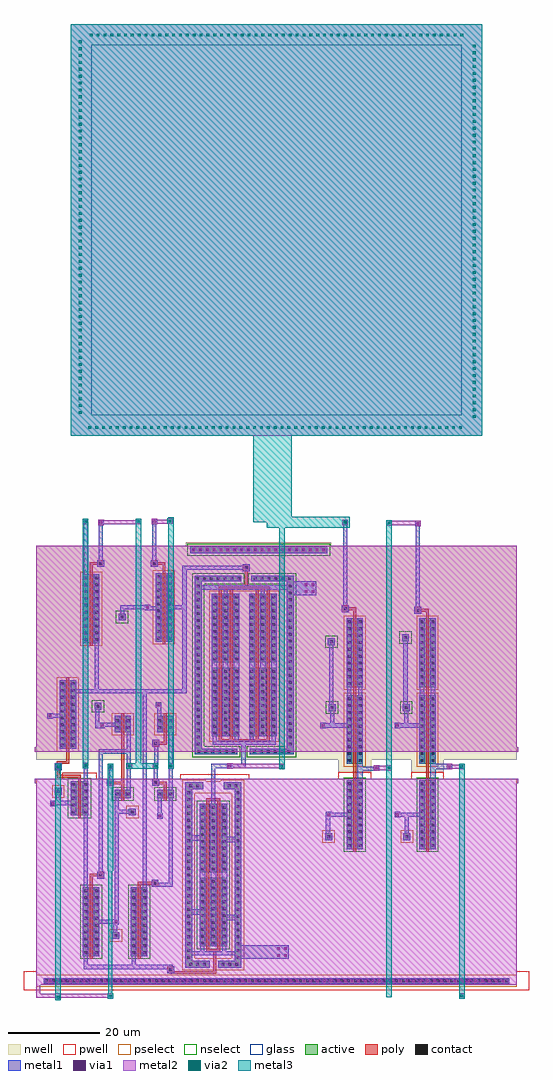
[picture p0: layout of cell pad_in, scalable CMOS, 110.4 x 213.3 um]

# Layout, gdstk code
import gdstk
lib = gdstk.Library(unit=1e-6, precision=1e-09)
def R(c, l, rs):  # rectangles x0, y0, x1, y1
    for r in rs: c.add(gdstk.rectangle(r[:2], r[2:], *l))
def A(c, l, x, y, w, h, nx, ny, dx, dy):  # array of equal rectangles
    R(c, l, [(x+i*dx, y+j*dy, x+i*dx+w, y+j*dy+h) for i in range(nx) for j in range(ny)])
contact = (25, 0)
pwell = (41, 0)
nwell = (42, 0)
active = (43, 0)
pselect = (44, 0)
nselect = (45, 0)
poly = (46, 0)
metal1 = (49, 0)
via1 = (50, 0)
metal2 = (51, 0)
glass = (52, 0)
via2 = (61, 0)
metal3 = (62, 0)

pad_raw = lib.new_cell('pad_raw')
A(pad_raw, contact, -49.95, -105.3, 0.6, 0.6, 68, 1, 1.5, 0)
A(pad_raw, contact, -17.85, -11.1, 0.6, 0.6, 20, 1, 1.5, 0)
R(pad_raw, pwell, [(-54.6,-107.1,-51,-102.9), (-51.9,-107.1,53.1,-102.9), (52.2,-107.1,55.8,-102.9), (-51.15,-106.5,52.35,-103.5)])
R(pad_raw, nwell, [(-51.9,-56.7,53.1,-9.9), (-19.2,-12.45,12.6,-9.15)])
R(pad_raw, active, [(-50.25,-105.6,51.45,-104.4), (-18.3,-11.55,11.7,-10.05)])
R(pad_raw, pselect, [(-51.9,-106.35,53.1,-103.65), (-50.85,-106.2,52.05,-103.8)])
R(pad_raw, nselect, [(-18.9,-12.15,12.3,-9.45)])
R(pad_raw, metal1, [(-50.25,-105.6,51.45,-104.4), (-50.1,-105.6,51.3,-104.4), (-33.9,-105.6,-33,-104.4), (-18.3,-11.55,11.7,-10.05), (-18.3,-11.4,11.7,-10.2), (-3.75,-11.4,-2.85,-10.2)])
A(pad_raw, via1, -49.2, -105.3, 0.6, 0.6, 67, 1, 1.5, 0)
A(pad_raw, via1, -17.85, -11.1, 0.6, 0.6, 20, 1, 1.5, 0)
R(pad_raw, metal2, [(-51.9,-105.9,53.1,-60.9), (-2.1,-105.9,-1.2,-104.4), (-50.1,-105.6,51.3,-104.4), (-0.15,-84.15,0.75,-60.9), (-0.15,-84.15,0.75,-60.9), (-0.15,-84.15,0.75,-60.9), (-52.2,-61.8,0.75,-60.9), (-0.15,-61.8,53.4,-60.9), (-52.2,-54.9,0.75,-54), (-51.9,-54.9,53.1,-9.9), (-0.15,-54.9,0.75,-30.75), (-0.15,-54.9,0.75,-30.75), (-0.15,-54.9,53.4,-54), (-0.15,-31.65,0.75,-9.9), (-18.3,-11.4,11.7,-10.2), (-3.75,-11.4,-2.85,-9.9), (-44.4,14.1,45.6,104.1), (-41.4,15.3,42,16.5), (-0.15,15.45,0.75,16.35), (43.2,17.1,44.4,100.5), (-42.9,18,-41.7,101.4), (-41.1,101.1,42.3,102.3)])
R(pad_raw, glass, [(-39.9,18.6,41.1,99.6)])
A(pad_raw, via2, -40.5, 15.6, 0.6, 0.6, 55, 1, 1.5, 0)
A(pad_raw, via2, 43.5, 18, 0.6, 0.6, 1, 55, 0, 1.5)
A(pad_raw, via2, -42.6, 18.9, 0.6, 0.6, 1, 55, 0, 1.5)
A(pad_raw, via2, -40.2, 101.4, 0.6, 0.6, 55, 1, 1.5, 0)
R(pad_raw, metal3, [(-44.4,14.1,45.6,104.1), (-0.45,14.4,-0.15,61.05), (-41.4,15.3,42,16.5), (-0.15,15.45,44.25,16.35), (-0.15,15.45,0.75,16.35), (43.35,15.45,44.25,59.25), (43.2,17.1,44.4,100.5), (-42.9,18,-41.7,101.4), (43.35,58.35,44.25,102.15), (-42.75,59.25,-41.85,102.15), (-41.1,101.1,42.3,102.3), (-42.75,101.25,1.05,102.15), (0.15,101.25,44.25,102.15)])

pad_io = lib.new_cell('pad_io')
A(pad_io, contact, -18.45, -101.7, 0.6, 0.6, 3, 1, 1.5, 0)
A(pad_io, contact, -11.4, -101.7, 0.6, 0.6, 3, 1, 1.5, 0)
A(pad_io, contact, -18.9, -100.2, 0.6, 0.6, 1, 25, 0, 1.5)
A(pad_io, contact, -8.1, -100.2, 0.6, 0.6, 1, 25, 0, 1.5)
A(pad_io, contact, -41.4, -99.15, 0.6, 0.6, 1, 10, 0, 1.5)
A(pad_io, contact, -39, -99.15, 0.6, 0.6, 1, 10, 0, 1.5)
A(pad_io, contact, -30.9, -99.15, 0.6, 0.6, 1, 10, 0, 1.5)
A(pad_io, contact, -28.5, -99.15, 0.6, 0.6, 1, 10, 0, 1.5)
A(pad_io, contact, -15.9, -97.05, 0.6, 0.6, 3, 10, 2.4, 1.5)
A(pad_io, contact, -15.9, -80.85, 0.6, 0.6, 1, 10, 0, 1.5)
A(pad_io, contact, -11.1, -80.85, 0.6, 0.6, 1, 10, 0, 1.5)
A(pad_io, contact, 16.2, -75.75, 0.6, 0.6, 1, 10, 0, 1.5)
A(pad_io, contact, 18.6, -75.75, 0.6, 0.6, 1, 10, 0, 1.5)
A(pad_io, contact, 32.1, -75.75, 0.6, 0.6, 1, 10, 0, 1.5)
A(pad_io, contact, 34.5, -75.75, 0.6, 0.6, 1, 10, 0, 1.5)
A(pad_io, contact, -44.1, -68.4, 0.6, 0.6, 1, 5, 0, 1.5)
A(pad_io, contact, -41.4, -68.4, 0.6, 0.6, 1, 5, 0, 1.5)
A(pad_io, contact, 16.2, -57.15, 0.6, 0.6, 1, 10, 0, 1.5)
A(pad_io, contact, 18.6, -57.15, 0.6, 0.6, 1, 10, 0, 1.5)
A(pad_io, contact, 32.1, -57.15, 0.6, 0.6, 1, 10, 0, 1.5)
A(pad_io, contact, 34.5, -57.15, 0.6, 0.6, 1, 10, 0, 1.5)
A(pad_io, contact, -16.65, -55.2, 0.6, 0.6, 6, 1, 1.5, 0)
A(pad_io, contact, -4.5, -55.2, 0.6, 0.6, 6, 1, 1.5, 0)
A(pad_io, contact, -46.5, -53.85, 0.6, 0.6, 1, 10, 0, 1.5)
A(pad_io, contact, -44.1, -53.85, 0.6, 0.6, 1, 10, 0, 1.5)
A(pad_io, contact, -16.8, -53.55, 0.6, 0.6, 1, 24, 0, 1.5)
A(pad_io, contact, 3.3, -53.55, 0.6, 0.6, 1, 24, 0, 1.5)
A(pad_io, contact, -13.2, -51.15, 0.6, 0.6, 1, 10, 0, 1.5)
A(pad_io, contact, -8.4, -51.15, 0.6, 0.6, 1, 10, 0, 1.5)
A(pad_io, contact, -5.1, -51.15, 0.6, 0.6, 1, 10, 0, 1.5)
A(pad_io, contact, -0.3, -51.15, 0.6, 0.6, 1, 10, 0, 1.5)
A(pad_io, contact, 16.2, -40.35, 0.6, 0.6, 1, 10, 0, 1.5)
A(pad_io, contact, 18.6, -40.35, 0.6, 0.6, 1, 10, 0, 1.5)
A(pad_io, contact, 32.1, -40.35, 0.6, 0.6, 1, 10, 0, 1.5)
A(pad_io, contact, 34.5, -40.35, 0.6, 0.6, 1, 10, 0, 1.5)
A(pad_io, contact, -13.2, -34.95, 0.6, 0.6, 3, 10, 2.4, 1.5)
A(pad_io, contact, -5.1, -34.95, 0.6, 0.6, 3, 10, 2.4, 1.5)
A(pad_io, contact, -41.4, -30.75, 0.6, 0.6, 1, 10, 0, 1.5)
A(pad_io, contact, -39, -30.75, 0.6, 0.6, 1, 10, 0, 1.5)
A(pad_io, contact, -25.5, -30.45, 0.6, 0.6, 1, 10, 0, 1.5)
A(pad_io, contact, -23.1, -30.45, 0.6, 0.6, 1, 10, 0, 1.5)
A(pad_io, contact, -16.95, -17.4, 0.6, 0.6, 7, 1, 1.5, 0)
A(pad_io, contact, -4.35, -17.4, 0.6, 0.6, 6, 1, 1.5, 0)
R(pad_io, contact, [(-22.8,-102.9,-22.2,-102.3), (-34.8,-95.4,-34.2,-94.8), (-26.25,-84,-25.65,-83.4), (-38.1,-82.2,-37.5,-81.6), (-13.5,-80.85,-12.9,-80.25), (-13.5,-80.85,-12.9,-80.25), (-13.5,-79.35,-12.9,-78.75), (-13.5,-79.35,-12.9,-78.75), (-13.5,-77.85,-12.9,-77.25), (-13.5,-77.85,-12.9,-77.25), (-13.5,-76.35,-12.9,-75.75), (-13.5,-76.35,-12.9,-75.75), (-13.5,-74.85,-12.9,-74.25), (-13.5,-74.85,-12.9,-74.25), (11.7,-73.8,12.3,-73.2), (28.8,-73.8,29.4,-73.2), (-13.5,-73.35,-12.9,-72.75), (-13.5,-73.35,-12.9,-72.75), (-13.5,-71.85,-12.9,-71.25), (-13.5,-71.85,-12.9,-71.25), (-13.5,-70.35,-12.9,-69.75), (-13.5,-70.35,-12.9,-69.75), (-13.5,-68.85,-12.9,-68.25), (-13.5,-68.85,-12.9,-68.25), (-31.2,-68.4,-30.6,-67.8), (-13.5,-67.35,-12.9,-66.75), (-13.5,-67.35,-12.9,-66.75), (-34.5,-64.5,-33.9,-63.9), (-32.1,-64.5,-31.5,-63.9), (-25.2,-64.5,-24.6,-63.9), (-22.8,-64.5,-22.2,-63.9), (-47.4,-63.9,-46.8,-63.3), (-18.45,-62.7,-17.85,-62.1), (-16.95,-62.7,-16.35,-62.1), (-10.05,-62.7,-9.45,-62.1), (-8.55,-62.7,-7.95,-62.1), (-36,-61.95,-35.4,-61.35), (-26.1,-61.95,-25.5,-61.35), (-47.4,-58.5,-46.8,-57.9), (-26.1,-53.4,-25.5,-52.8), (-10.8,-51.15,-10.2,-50.55), (-10.8,-51.15,-10.2,-50.55), (-2.7,-51.15,-2.1,-50.55), (-2.7,-51.15,-2.1,-50.55), (-34.5,-49.95,-33.9,-49.35), (-32.1,-49.95,-31.5,-49.35), (-25.2,-49.95,-24.6,-49.35), (-22.8,-49.95,-22.2,-49.35), (-10.8,-49.65,-10.2,-49.05), (-10.8,-49.65,-10.2,-49.05), (-2.7,-49.65,-2.1,-49.05), (-2.7,-49.65,-2.1,-49.05), (-34.5,-48.45,-33.9,-47.85), (-32.1,-48.45,-31.5,-47.85), (-25.2,-48.45,-24.6,-47.85), (-22.8,-48.45,-22.2,-47.85), (-10.8,-48.15,-10.2,-47.55), (-10.8,-48.15,-10.2,-47.55), (-2.7,-48.15,-2.1,-47.55), (-2.7,-48.15,-2.1,-47.55), (-10.8,-46.65,-10.2,-46.05), (-10.8,-46.65,-10.2,-46.05), (-2.7,-46.65,-2.1,-46.05), (-2.7,-46.65,-2.1,-46.05), (12.45,-45.6,13.05,-45), (28.65,-45.6,29.25,-45), (-38.7,-45.3,-38.1,-44.7), (-10.8,-45.15,-10.2,-44.55), (-10.8,-45.15,-10.2,-44.55), (-2.7,-45.15,-2.1,-44.55), (-2.7,-45.15,-2.1,-44.55), (-10.8,-43.65,-10.2,-43.05), (-10.8,-43.65,-10.2,-43.05), (-2.7,-43.65,-2.1,-43.05), (-2.7,-43.65,-2.1,-43.05), (-10.8,-42.15,-10.2,-41.55), (-10.8,-42.15,-10.2,-41.55), (-2.7,-42.15,-2.1,-41.55), (-2.7,-42.15,-2.1,-41.55), (-10.8,-40.65,-10.2,-40.05), (-10.8,-40.65,-10.2,-40.05), (-2.7,-40.65,-2.1,-40.05), (-2.7,-40.65,-2.1,-40.05), (-10.8,-39.15,-10.2,-38.55), (-10.8,-39.15,-10.2,-38.55), (-2.7,-39.15,-2.1,-38.55), (-2.7,-39.15,-2.1,-38.55), (-10.8,-37.65,-10.2,-37.05), (-10.8,-37.65,-10.2,-37.05), (-2.7,-37.65,-2.1,-37.05), (-2.7,-37.65,-2.1,-37.05), (12.3,-31.2,12.9,-30.6), (28.5,-30.3,29.1,-29.7), (-33.45,-25.8,-32.85,-25.2), (31.2,-24.3,31.8,-23.7), (15.3,-24,15.9,-23.4), (-6.3,-15,-5.7,-14.4), (-38.1,-14.1,-37.5,-13.5), (-26.4,-14.1,-25.8,-13.5)])
A(pad_io, pwell, -18, -99.3, 4.8, 18.6, 3, 2, 2.4, 16.2)
R(pad_io, pwell, [(-51.9,-105.9,53.1,-60.9), (-20.25,-103.05,-13.05,-99.75), (-13.05,-103.05,-6.15,-99.75), (-20.25,-101.85,-16.95,-61.95), (-9.45,-101.85,-6.15,-61.95), (-43.5,-101.4,-38.7,-82.8), (-42.9,-101.4,-36.9,-82.8), (-41.1,-101.4,-36.3,-82.8), (-33,-101.4,-28.2,-82.8), (-32.4,-101.4,-26.4,-82.8), (-30.6,-101.4,-25.8,-82.8), (-17.4,-99.3,-11.4,-80.7), (-15,-99.3,-9,-80.7), (-36.15,-96.75,-32.85,-93.45), (-43.35,-94.35,-38.85,-89.85), (-40.95,-94.35,-36.45,-89.85), (-32.85,-94.35,-28.35,-89.85), (-30.45,-94.35,-25.95,-89.85), (-17.85,-92.55,-13.2,-88.05), (-13.05,-92.55,-8.55,-88.05), (-15.45,-92.25,-10.95,-87.75), (-15.45,-92.25,-10.95,-87.75), (-17.4,-83.1,-11.4,-64.5), (-15.75,-83.1,-10.65,-64.5), (-15,-83.1,-9,-64.5), (14.1,-78,18.9,-59.4), (14.7,-78,20.7,-59.4), (16.5,-78,21.3,-59.4), (30,-78,34.8,-59.4), (30.6,-78,36.6,-59.4), (32.4,-78,37.2,-59.4), (-17.85,-76.05,-13.2,-71.55), (-15.45,-76.05,-10.95,-71.55), (-15.45,-76.05,-10.95,-71.55), (-15.45,-76.05,-10.8,-71.55), (-13.05,-76.05,-8.55,-71.55), (10.35,-75.15,13.65,-71.85), (27.45,-75.15,30.75,-71.85), (14.25,-70.95,18.75,-66.45), (16.65,-70.95,21.15,-66.45), (30.15,-70.95,34.65,-66.45), (32.55,-70.95,37.05,-66.45), (-46.2,-70.65,-41.4,-59.55), (-45.45,-70.65,-39.45,-59.55), (-43.5,-70.65,-38.7,-59.55), (-32.55,-69.75,-29.25,-66.45), (-45.9,-67.35,-41.4,-62.85), (-43.5,-67.35,-38.85,-62.85), (-39.15,-67.2,-19.65,-61.2), (-36.6,-66.9,-31.8,-61.5), (-36,-66.9,-30,-61.5), (-34.2,-66.9,-29.4,-61.5), (-27.3,-66.9,-22.5,-61.5), (-26.7,-66.9,-20.7,-61.5), (-24.9,-66.9,-20.1,-61.5), (-36.45,-66.45,-31.95,-61.95), (-34.05,-66.45,-29.55,-61.95), (-27.15,-66.45,-22.5,-61.95), (-24.9,-66.45,-20.4,-61.95), (-48.75,-65.25,-45.45,-61.95), (-20.4,-64.65,-5.4,-59.85), (-20.25,-64.05,-14.55,-60.75), (-11.85,-64.05,-6.15,-60.75)])
A(pad_io, nwell, -15.3, -53.4, 4.8, 18.6, 3, 2, 2.4, 16.2)
A(pad_io, nwell, -7.2, -53.4, 4.8, 18.6, 3, 2, 2.4, 16.2)
R(pad_io, nwell, [(14.1,-59.4,18.9,-40.8), (14.7,-59.4,20.7,-40.8), (16.5,-59.4,21.3,-40.8), (30,-59.4,34.8,-40.8), (30.6,-59.4,36.6,-40.8), (32.4,-59.4,37.2,-40.8), (-18.15,-56.4,-7.05,-53.4), (-6.15,-56.4,5.25,-53.4), (-48.6,-56.1,-43.8,-37.5), (-48,-56.1,-42,-37.5), (-46.2,-56.1,-41.4,-37.5), (-18.15,-55.35,-14.85,-16.65), (1.95,-55.35,5.25,-16.65), (-14.7,-53.4,-8.7,-34.8), (-13.05,-53.4,-7.95,-34.8), (-12.3,-53.4,-6.3,-34.8), (-6.6,-53.4,-0.6,-34.8), (-4.95,-53.4,0.15,-34.8), (-4.2,-53.4,1.8,-34.8), (-36.6,-52.5,-31.8,-45.3), (-36,-52.5,-30,-45.3), (-34.2,-52.5,-29.4,-45.3), (-27.3,-52.5,-22.5,-45.3), (-26.7,-52.5,-20.7,-45.3), (-24.9,-52.5,-20.1,-45.3), (14.25,-52.35,18.75,-47.85), (16.65,-52.35,21.15,-47.85), (30.15,-52.35,34.65,-47.85), (32.55,-52.35,37.05,-47.85), (-36.45,-51.15,-31.95,-46.65), (-34.05,-51.15,-29.55,-46.65), (-27.15,-51.15,-22.65,-46.65), (-24.75,-51.15,-20.25,-46.65), (-48.45,-49.05,-43.95,-44.55), (-46.05,-49.05,-41.55,-44.55), (11.1,-46.95,14.4,-43.65), (27.3,-46.95,30.6,-43.65), (-40.05,-46.65,-36.75,-43.35), (-15.15,-46.35,-10.65,-41.85), (-12.75,-46.35,-8.25,-41.85), (-12.75,-46.35,-8.25,-41.85), (-10.35,-46.35,-5.7,-41.85), (-7.05,-46.35,-2.55,-41.85), (-4.65,-46.35,-0.15,-41.85), (-4.65,-46.35,-0.15,-41.85), (-2.25,-46.35,2.25,-41.85), (14.1,-42.6,18.9,-24), (14.7,-42.6,20.7,-24), (16.5,-42.6,21.3,-24), (30,-42.6,34.8,-24), (30.6,-42.6,36.6,-24), (32.4,-42.6,37.2,-24), (-14.7,-37.2,-8.7,-18.6), (-12.3,-37.2,-6.3,-18.6), (-6.6,-37.2,-0.6,-18.6), (-4.2,-37.2,1.8,-18.6), (14.25,-35.55,18.75,-31.05), (16.65,-35.55,21.15,-31.05), (30.15,-35.55,34.65,-31.05), (32.55,-35.55,37.05,-31.05), (-43.5,-33,-38.7,-14.4), (-42.9,-33,-36.9,-14.4), (-41.1,-33,-36.3,-14.4), (-27.6,-32.7,-22.8,-14.1), (-27,-32.7,-21,-14.1), (-25.2,-32.7,-20.4,-14.1), (10.95,-32.55,14.25,-29.25), (27.15,-31.65,30.45,-28.35), (-10.35,-31.05,-5.7,-26.55), (-2.25,-30.45,2.4,-25.95), (-15.15,-30.15,-10.65,-25.65), (-12.75,-30.15,-8.25,-25.65), (-12.75,-30.15,-8.1,-25.65), (-7.05,-30.15,-2.55,-25.65), (-4.65,-30.15,-0.15,-25.65), (-4.65,-30.15,-0.15,-25.65), (-34.8,-27.15,-31.5,-23.85), (-43.35,-25.95,-38.85,-21.45), (-40.95,-25.95,-36.45,-21.45), (-27.45,-25.65,-22.95,-21.15), (-25.05,-25.65,-20.55,-21.15), (-18.15,-18.6,-6.15,-15.6), (-5.85,-18.6,5.25,-15.6)])
A(pad_io, active, -16.2, -97.5, 1.2, 15, 3, 2, 2.4, 16.2)
A(pad_io, active, -13.5, -51.6, 1.2, 15, 3, 2, 2.4, 16.2)
A(pad_io, active, -5.4, -51.6, 1.2, 15, 3, 2, 2.4, 16.2)
R(pad_io, active, [(-19.35,-102.15,-13.95,-100.65), (-12.15,-102.15,-7.05,-100.65), (-19.35,-100.95,-17.85,-62.85), (-8.55,-100.95,-7.05,-62.85), (-41.7,-99.6,-40.5,-84.6), (-41.1,-99.6,-38.7,-84.6), (-39.3,-99.6,-38.1,-84.6), (-31.2,-99.6,-30,-84.6), (-30.6,-99.6,-28.2,-84.6), (-28.8,-99.6,-27.6,-84.6), (-15.6,-97.5,-13.2,-82.5), (-13.2,-97.5,-10.8,-82.5), (-35.25,-95.85,-33.75,-94.35), (-41.55,-92.55,-40.65,-91.65), (-39.15,-92.55,-38.25,-91.65), (-31.05,-92.55,-30.15,-91.65), (-28.65,-92.55,-27.75,-91.65), (-16.05,-90.75,-15,-89.85), (-11.25,-90.75,-10.35,-89.85), (-13.65,-90.45,-12.75,-89.55), (-13.65,-90.45,-12.75,-89.55), (-15.6,-81.3,-13.2,-66.3), (-13.95,-81.3,-12.45,-66.3), (-13.2,-81.3,-10.8,-66.3), (15.9,-76.2,17.1,-61.2), (16.5,-76.2,18.9,-61.2), (18.3,-76.2,19.5,-61.2), (31.8,-76.2,33,-61.2), (32.4,-76.2,34.8,-61.2), (34.2,-76.2,35.4,-61.2), (-16.05,-74.25,-15,-73.35), (-13.65,-74.25,-12.75,-73.35), (-13.65,-74.25,-12.75,-73.35), (-13.65,-74.25,-12.6,-73.35), (-11.25,-74.25,-10.35,-73.35), (11.25,-74.25,12.75,-72.75), (28.35,-74.25,29.85,-72.75), (16.05,-69.15,16.95,-68.25), (18.45,-69.15,19.35,-68.25), (31.95,-69.15,32.85,-68.25), (34.35,-69.15,35.25,-68.25), (-44.4,-68.85,-43.2,-61.35), (-43.65,-68.85,-41.25,-61.35), (-41.7,-68.85,-40.5,-61.35), (-31.65,-68.85,-30.15,-67.35), (-44.1,-65.55,-43.2,-64.65), (-41.7,-65.55,-40.65,-64.65), (-34.8,-65.1,-33.6,-63.3), (-34.2,-65.1,-31.8,-63.3), (-32.4,-65.1,-31.2,-63.3), (-25.5,-65.1,-24.3,-63.3), (-24.9,-65.1,-22.5,-63.3), (-23.1,-65.1,-21.9,-63.3), (-34.65,-64.65,-33.75,-63.75), (-32.25,-64.65,-31.35,-63.75), (-25.35,-64.65,-24.3,-63.75), (-23.1,-64.65,-22.2,-63.75), (-47.85,-64.35,-46.35,-62.85), (-19.35,-63.15,-15.45,-61.65), (-10.95,-63.15,-7.05,-61.65), (15.9,-57.6,17.1,-42.6), (16.5,-57.6,18.9,-42.6), (18.3,-57.6,19.5,-42.6), (31.8,-57.6,33,-42.6), (32.4,-57.6,34.8,-42.6), (34.2,-57.6,35.4,-42.6), (-17.25,-55.5,-7.95,-54.3), (-5.25,-55.5,4.35,-54.3), (-17.25,-54.45,-15.75,-17.55), (2.85,-54.45,4.35,-17.55), (-46.8,-54.3,-45.6,-39.3), (-46.2,-54.3,-43.8,-39.3), (-44.4,-54.3,-43.2,-39.3), (-12.9,-51.6,-10.5,-36.6), (-11.25,-51.6,-9.75,-36.6), (-10.5,-51.6,-8.1,-36.6), (-4.8,-51.6,-2.4,-36.6), (-3.15,-51.6,-1.65,-36.6), (-2.4,-51.6,0,-36.6), (-34.8,-50.7,-33.6,-47.1), (-34.2,-50.7,-31.8,-47.1), (-32.4,-50.7,-31.2,-47.1), (-25.5,-50.7,-24.3,-47.1), (-24.9,-50.7,-22.5,-47.1), (-23.1,-50.7,-21.9,-47.1), (16.05,-50.55,16.95,-49.65), (18.45,-50.55,19.35,-49.65), (31.95,-50.55,32.85,-49.65), (34.35,-50.55,35.25,-49.65), (-34.65,-49.35,-33.75,-48.45), (-32.25,-49.35,-31.35,-48.45), (-25.35,-49.35,-24.45,-48.45), (-22.95,-49.35,-22.05,-48.45), (-46.65,-47.25,-45.75,-46.35), (-44.25,-47.25,-43.35,-46.35), (12,-46.05,13.5,-44.55), (28.2,-46.05,29.7,-44.55), (-39.15,-45.75,-37.65,-44.25), (-13.35,-44.55,-12.45,-43.65), (-10.95,-44.55,-10.05,-43.65), (-10.95,-44.55,-10.05,-43.65), (-8.55,-44.55,-7.5,-43.65), (-5.25,-44.55,-4.35,-43.65), (-2.85,-44.55,-1.95,-43.65), (-2.85,-44.55,-1.95,-43.65), (-0.45,-44.55,0.45,-43.65), (15.9,-40.8,17.1,-25.8), (16.5,-40.8,18.9,-25.8), (18.3,-40.8,19.5,-25.8), (31.8,-40.8,33,-25.8), (32.4,-40.8,34.8,-25.8), (34.2,-40.8,35.4,-25.8), (-12.9,-35.4,-10.5,-20.4), (-10.5,-35.4,-8.1,-20.4), (-4.8,-35.4,-2.4,-20.4), (-2.4,-35.4,0,-20.4), (16.05,-33.75,16.95,-32.85), (18.45,-33.75,19.35,-32.85), (31.95,-33.75,32.85,-32.85), (34.35,-33.75,35.25,-32.85), (11.85,-31.65,13.35,-30.15), (-41.7,-31.2,-40.5,-16.2), (-41.1,-31.2,-38.7,-16.2), (-39.3,-31.2,-38.1,-16.2), (-25.8,-30.9,-24.6,-15.9), (-25.2,-30.9,-22.8,-15.9), (-23.4,-30.9,-22.2,-15.9), (28.05,-30.75,29.55,-29.25), (-8.55,-29.25,-7.5,-28.35), (-0.45,-28.65,0.6,-27.75), (-13.35,-28.35,-12.45,-27.45), (-10.95,-28.35,-10.05,-27.45), (-10.95,-28.35,-9.9,-27.45), (-5.25,-28.35,-4.35,-27.45), (-2.85,-28.35,-1.95,-27.45), (-2.85,-28.35,-1.95,-27.45), (-33.9,-26.25,-32.4,-24.75), (-41.55,-24.15,-40.65,-23.25), (-39.15,-24.15,-38.25,-23.25), (-25.65,-23.85,-24.75,-22.95), (-23.25,-23.85,-22.35,-22.95), (-17.25,-17.7,-7.05,-16.5), (-4.95,-17.7,4.35,-16.5)])
A(pad_io, pselect, -14.1, -52.2, 2.4, 16.2, 3, 2, 2.4, 16.2)
A(pad_io, pselect, -6, -52.2, 2.4, 16.2, 3, 2, 2.4, 16.2)
R(pad_io, pselect, [(-19.95,-102.75,-6.45,-100.05), (-19.95,-102.75,-13.35,-100.05), (-12.75,-102.75,-6.45,-100.05), (-19.95,-101.55,-17.25,-62.25), (-9.15,-101.55,-6.45,-62.25), (-35.85,-96.45,-33.15,-93.75), (10.65,-74.85,13.35,-72.15), (27.75,-74.85,30.45,-72.15), (-32.25,-69.45,-29.55,-66.75), (-48.45,-64.95,-45.75,-62.25), (-19.95,-64.05,-6.45,-61.35), (-19.95,-63.75,-14.85,-61.05), (-11.55,-63.75,-6.45,-61.05), (15.3,-58.2,17.7,-42), (15.9,-58.2,19.5,-42), (17.7,-58.2,20.1,-42), (31.2,-58.2,33.6,-42), (31.8,-58.2,35.4,-42), (33.6,-58.2,36,-42), (-47.4,-54.9,-45,-38.7), (-46.8,-54.9,-43.2,-38.7), (-45,-54.9,-42.6,-38.7), (-14.1,-52.8,1.2,-19.8), (-13.5,-52.2,-9.9,-36), (-11.85,-52.2,-9.15,-36), (-11.1,-52.2,-7.5,-36), (-5.4,-52.2,-1.8,-36), (-3.75,-52.2,-1.05,-36), (-3,-52.2,0.6,-36), (-35.4,-51.3,-33,-46.5), (-34.8,-51.3,-31.2,-46.5), (-33,-51.3,-30.6,-46.5), (-26.1,-51.3,-23.7,-46.5), (-25.5,-51.3,-21.9,-46.5), (-23.7,-51.3,-21.3,-46.5), (15.45,-51.15,17.55,-49.05), (17.85,-51.15,19.95,-49.05), (31.35,-51.15,33.45,-49.05), (33.75,-51.15,35.85,-49.05), (-35.25,-49.95,-33.15,-47.85), (-32.85,-49.95,-30.75,-47.85), (-25.95,-49.95,-23.85,-47.85), (-23.55,-49.95,-21.45,-47.85), (-47.25,-47.85,-45.15,-45.75), (-44.85,-47.85,-42.75,-45.75), (-13.95,-45.15,-11.85,-43.05), (-11.55,-45.15,-9.45,-43.05), (-11.55,-45.15,-9.45,-43.05), (-9.15,-45.15,-6.9,-43.05), (-5.85,-45.15,-3.75,-43.05), (-3.45,-45.15,-1.35,-43.05), (-3.45,-45.15,-1.35,-43.05), (-1.05,-45.15,1.05,-43.05), (15.3,-41.4,17.7,-25.2), (15.9,-41.4,19.5,-25.2), (17.7,-41.4,20.1,-25.2), (31.2,-41.4,33.6,-25.2), (31.8,-41.4,35.4,-25.2), (33.6,-41.4,36,-25.2), (-13.5,-36,-9.9,-19.8), (-11.1,-36,-7.5,-19.8), (-5.4,-36,-1.8,-19.8), (-3,-36,0.6,-19.8), (15.45,-34.35,17.55,-32.25), (17.85,-34.35,19.95,-32.25), (31.35,-34.35,33.45,-32.25), (33.75,-34.35,35.85,-32.25), (-42.3,-31.8,-39.9,-15.6), (-41.7,-31.8,-38.1,-15.6), (-39.9,-31.8,-37.5,-15.6), (-26.4,-31.5,-24,-15.3), (-25.8,-31.5,-22.2,-15.3), (-24,-31.5,-21.6,-15.3), (-9.15,-29.85,-6.9,-27.75), (-1.05,-29.25,1.2,-27.15), (-13.95,-28.95,-11.85,-26.85), (-11.55,-28.95,-9.45,-26.85), (-11.55,-28.95,-9.3,-26.85), (-5.85,-28.95,-3.75,-26.85), (-3.45,-28.95,-1.35,-26.85), (-3.45,-28.95,-1.35,-26.85), (-42.15,-24.75,-40.05,-22.65), (-39.75,-24.75,-37.65,-22.65), (-26.25,-24.45,-24.15,-22.35), (-23.85,-24.45,-21.75,-22.35)])
A(pad_io, nselect, -16.8, -98.1, 2.4, 16.2, 3, 2, 2.4, 16.2)
R(pad_io, nselect, [(-42.3,-100.2,-39.9,-84), (-41.7,-100.2,-38.1,-84), (-39.9,-100.2,-37.5,-84), (-31.8,-100.2,-29.4,-84), (-31.2,-100.2,-27.6,-84), (-29.4,-100.2,-27,-84), (-16.8,-98.1,-9.6,-65.7), (-16.2,-98.1,-12.6,-81.9), (-13.8,-98.1,-10.2,-81.9), (-42.15,-93.15,-40.05,-91.05), (-39.75,-93.15,-37.65,-91.05), (-31.65,-93.15,-29.55,-91.05), (-29.25,-93.15,-27.15,-91.05), (-16.65,-91.35,-14.4,-89.25), (-11.85,-91.35,-9.75,-89.25), (-14.25,-91.05,-12.15,-88.95), (-14.25,-91.05,-12.15,-88.95), (-16.2,-81.9,-12.6,-65.7), (-14.55,-81.9,-11.85,-65.7), (-13.8,-81.9,-10.2,-65.7), (15.3,-76.8,17.7,-60.6), (15.9,-76.8,19.5,-60.6), (17.7,-76.8,20.1,-60.6), (31.2,-76.8,33.6,-60.6), (31.8,-76.8,35.4,-60.6), (33.6,-76.8,36,-60.6), (-16.65,-74.85,-14.4,-72.75), (-14.25,-74.85,-12.15,-72.75), (-14.25,-74.85,-12.15,-72.75), (-14.25,-74.85,-12,-72.75), (-11.85,-74.85,-9.75,-72.75), (15.45,-69.75,17.55,-67.65), (17.85,-69.75,19.95,-67.65), (31.35,-69.75,33.45,-67.65), (33.75,-69.75,35.85,-67.65), (-45,-69.45,-42.6,-60.75), (-44.25,-69.45,-40.65,-60.75), (-42.3,-69.45,-39.9,-60.75), (-44.7,-66.15,-42.6,-64.05), (-42.3,-66.15,-40.05,-64.05), (-35.4,-65.7,-33,-62.7), (-34.8,-65.7,-31.2,-62.7), (-33,-65.7,-30.6,-62.7), (-26.1,-65.7,-23.7,-62.7), (-25.5,-65.7,-21.9,-62.7), (-23.7,-65.7,-21.3,-62.7), (-35.25,-65.25,-33.15,-63.15), (-32.85,-65.25,-30.75,-63.15), (-25.95,-65.25,-23.7,-63.15), (-23.7,-65.25,-21.6,-63.15), (-17.85,-56.1,-7.35,-53.7), (-5.85,-56.1,4.95,-53.7), (-17.85,-55.05,-15.15,-16.95), (2.25,-55.05,4.95,-16.95), (11.4,-46.65,14.1,-43.95), (27.6,-46.65,30.3,-43.95), (-39.75,-46.35,-37.05,-43.65), (11.25,-32.25,13.95,-29.55), (27.45,-31.35,30.15,-28.65), (-34.5,-26.85,-31.8,-24.15), (-17.85,-18.3,-6.45,-15.9), (-5.55,-18.3,4.95,-15.9)])
R(pad_io, poly, [(-22.8,-103.5,-22.2,-102.45), (-22.8,-103.5,-12.6,-102.9), (-13.2,-103.5,-12.6,-98.1), (-23.25,-103.35,-21.75,-101.85), (-40.2,-100.2,-39.6,-84), (-29.7,-100.2,-29.1,-84), (-14.7,-98.7,-14.1,-97.8), (-14.7,-98.7,-12.6,-98.1), (-13.2,-98.7,-11.7,-98.1), (-12.3,-98.7,-11.7,-97.8), (-14.7,-98.1,-14.1,-81.9), (-12.3,-98.1,-11.7,-81.9), (-26.7,-84.45,-25.2,-82.95), (-40.2,-84.3,-39.6,-81.6), (-29.7,-84.3,-29.1,-83.4), (-29.7,-84,-25.5,-83.4), (-38.55,-82.65,-37.05,-81.15), (-40.2,-82.2,-37.5,-81.6), (-14.7,-82.2,-14.1,-81.6), (-12.3,-82.2,-11.7,-81.6), (-14.7,-81.9,-14.1,-65.7), (-12.3,-81.9,-11.7,-65.7), (17.4,-76.8,18,-60.6), (33.3,-76.8,33.9,-60.6), (-42.75,-69.45,-42.15,-60.75), (-14.7,-66,-14.1,-65.1), (-12.3,-66,-11.7,-65.1), (-33.3,-65.7,-32.7,-62.7), (-24,-65.7,-23.4,-62.7), (-14.7,-65.7,-11.7,-65.1), (-33.3,-63,-32.7,-61.5), (-24,-63,-23.4,-61.5), (-36.45,-62.4,-34.95,-60.9), (-26.55,-62.4,-25.05,-60.9), (-36,-62.1,-32.7,-61.5), (-33.3,-62.1,-32.7,-51), (-26.1,-62.1,-23.4,-61.5), (-42.75,-61.05,-42.15,-60), (17.4,-60.9,18,-57.9), (33.3,-60.9,33.9,-57.9), (-47.4,-60.6,-42.15,-60), (-47.4,-60.6,-46.8,-57), (-47.85,-58.95,-46.35,-57.45), (-47.4,-58.65,-46.8,-58.05), (-47.4,-58.5,-46.8,-57), (17.4,-58.2,18,-42), (33.3,-58.2,33.9,-42), (-47.4,-57.6,-44.7,-57), (-45.3,-57.6,-44.7,-54.6), (-45.3,-54.9,-44.7,-38.7), (-26.55,-53.85,-25.05,-52.35), (-26.1,-53.4,-23.4,-52.8), (-24,-53.4,-23.4,-51), (-12,-52.8,-11.4,-51.9), (-12,-52.8,-9,-52.2), (-9.6,-52.8,-9,-51.9), (-9.6,-52.8,-3.3,-52.2), (-3.9,-52.8,-3.3,-51.9), (-3.9,-52.8,-0.9,-52.2), (-12,-52.2,-11.4,-36), (-9.6,-52.2,-9,-36), (-3.9,-52.2,-3.3,-36), (-1.5,-52.2,-0.9,-36), (-33.3,-51.3,-32.7,-46.5), (-24,-51.3,-23.4,-46.5), (17.4,-42.3,18,-41.1), (33.3,-42.3,33.9,-41.1), (17.4,-41.4,18,-25.2), (33.3,-41.4,33.9,-25.2), (-12,-36.3,-11.4,-35.7), (-9.6,-36.3,-9,-35.7), (-3.9,-36.3,-3.3,-35.7), (-1.5,-36.3,-0.9,-35.7), (-12,-36,-11.4,-19.8), (-9.6,-36,-9,-19.8), (-3.9,-36,-3.3,-19.8), (-1.5,-36,-0.9,-19.8), (-40.2,-31.8,-39.6,-15.6), (-24.3,-31.5,-23.7,-15.3), (17.4,-25.5,18,-23.4), (33.3,-25.5,33.9,-23.7), (30.75,-24.75,32.25,-23.25), (14.85,-24.45,16.35,-22.95), (31.35,-24.3,33.9,-23.7), (15.45,-24,18,-23.4), (-12,-20.1,-11.4,-18.9), (-9.6,-20.1,-9,-18.9), (-3.9,-20.1,-3.3,-18.9), (-1.5,-20.1,-0.9,-18.9), (-12,-19.5,-9,-18.9), (-9.6,-19.5,-5.7,-18.9), (-6.3,-19.5,-3.3,-18.9), (-6.3,-19.5,-5.7,-14.4), (-3.9,-19.5,-0.9,-18.9), (-40.2,-15.9,-39.6,-13.5), (-24.3,-15.6,-23.7,-13.5), (-6.75,-15.45,-5.25,-13.95), (-38.55,-14.55,-37.05,-13.05), (-26.85,-14.55,-25.35,-13.05), (-40.2,-14.1,-37.65,-13.5), (-26.25,-14.1,-23.7,-13.5)])
A(pad_io, metal1, -16.2, -97.5, 1.2, 15, 3, 2, 2.4, 16.2)
A(pad_io, metal1, -13.5, -51.6, 1.2, 15, 3, 2, 2.4, 16.2)
A(pad_io, metal1, -5.4, -51.6, 1.2, 15, 3, 2, 2.4, 16.2)
R(pad_io, metal1, [(-23.25,-103.35,-21.75,-101.85), (-22.95,-102.9,-22.05,-101.55), (-41.55,-102.45,-40.65,-98.55), (-41.55,-102.45,-30.15,-101.55), (-31.05,-102.45,-22.05,-101.55), (-31.05,-102.45,-30.15,-91.65), (-19.35,-102.15,-13.95,-100.65), (-12.15,-102.15,-7.05,-100.65), (-19.2,-101.85,-18,-99.15), (-8.4,-101.85,-7.2,-99.15), (-19.35,-100.95,-17.85,-62.85), (-8.55,-100.95,-7.05,-62.85), (-7.8,-100.2,1.8,-97.2), (0.3,-100.2,3.3,-97.2), (-41.7,-99.6,-40.5,-84.6), (-39.3,-99.6,-38.1,-84.6), (-31.2,-99.6,-30,-84.6), (-28.8,-99.6,-27.6,-84.6), (-18.9,-99.45,-15.15,-98.55), (-16.05,-99.45,-10.35,-98.55), (-16.05,-99.45,-15.15,-90.75), (-11.25,-99.45,-10.35,-96.15), (-11.25,-99.45,-7.5,-98.55), (-35.25,-95.85,-33.75,-94.35), (-35.1,-95.4,-34.2,-91.8), (-35.1,-92.7,-33.9,-91.5), (-39,-92.55,-34.2,-91.65), (-28.65,-92.55,-27.75,-41.25), (-34.8,-92.4,-33.9,-67.65), (-11.25,-91.8,-7.2,-90.6), (-19.2,-90.6,-15.15,-89.4), (-41.55,-85.65,-40.65,-67.8), (-16.2,-84.9,-15,-80.1), (-11.4,-84.9,-10.2,-80.1), (-26.7,-84.45,-25.2,-82.95), (-26.4,-84.45,-22.05,-83.55), (-22.95,-84.45,-22.05,-63.75), (-13.8,-83.55,-12.6,-80.25), (-38.55,-82.65,-37.05,-81.15), (-38.25,-82.35,-37.35,-54.45), (-13.95,-81.3,-12.45,-66.3), (15.9,-76.2,17.1,-61.2), (18.3,-76.2,19.5,-61.2), (31.8,-76.2,33,-61.2), (34.2,-76.2,35.4,-61.2), (-11.25,-74.7,-7.2,-73.5), (-19.2,-74.4,-15.15,-73.2), (-13.65,-74.25,-12.75,-64.35), (11.25,-74.25,12.75,-72.75), (28.35,-74.25,29.85,-72.75), (11.4,-73.8,12.3,-68.4), (28.65,-73.8,29.55,-68.25), (-25.5,-69.6,-24.3,-68.4), (-25.35,-69.3,-24.45,-64.05), (11.4,-69.3,12.6,-68.1), (26.4,-69.3,27.6,-68.1), (11.7,-69.15,16.8,-68.25), (26.7,-69.15,29.55,-68.25), (28.65,-69.15,32.7,-68.25), (-44.4,-68.85,-43.2,-61.35), (-41.7,-68.85,-40.5,-61.35), (-31.65,-68.85,-30.15,-67.35), (-34.8,-68.55,-30.6,-67.65), (-34.8,-68.55,-33.9,-64.05), (-48.9,-66.9,-47.7,-65.7), (-48.6,-66.6,-46.65,-65.7), (-47.55,-66.6,-46.65,-63.3), (-47.55,-66.6,-43.5,-65.7), (-13.65,-65.25,-12.75,-63.9), (-13.65,-65.25,-12.75,-57.6), (-34.8,-65.1,-33.6,-63.3), (-32.4,-65.1,-31.2,-63.3), (-25.5,-65.1,-24.3,-63.3), (-23.1,-65.1,-21.9,-63.3), (-19.2,-64.65,-18,-61.8), (-8.4,-64.65,-7.2,-61.8), (-47.85,-64.35,-46.35,-62.85), (-32.1,-64.35,-31.2,-57.75), (-22.95,-64.35,-22.05,-57.45), (-19.35,-63.15,-15.45,-61.65), (-10.95,-63.15,-7.05,-61.65), (-41.55,-62.4,-40.65,-57.45), (-36.45,-62.4,-34.95,-60.9), (-26.55,-62.4,-25.05,-60.9), (18.3,-62.4,19.5,-58.05), (34.2,-62.4,35.4,-57.6), (-36,-62.1,-35.1,-57.9), (-26.25,-62.1,-25.35,-57.75), (-22.95,-59.55,-22.05,-49.65), (-22.95,-59.55,-22.05,-58.65), (-22.95,-59.55,-22.05,-57.45), (18.3,-59.25,19.5,-56.4), (18.45,-59.1,22.8,-58.2), (21.9,-59.1,23.1,-57.9), (-47.85,-58.95,-46.35,-57.45), (-47.7,-58.8,-46.5,-57.6), (-36.3,-58.8,-35.1,-57.6), (34.2,-58.8,35.4,-56.4), (34.2,-58.8,38.85,-57.6), (37.8,-58.8,39,-57.6), (-32.1,-58.65,-30.9,-57.45), (-32.1,-58.65,-31.2,-54.45), (-32.1,-58.65,-31.2,-57.75), (-26.4,-58.65,-25.2,-57.45), (-26.1,-58.65,-25.2,-52.8), (-23.1,-58.65,-21.9,-57.45), (-10.2,-58.65,-9,-57.45), (-47.7,-58.5,-46.5,-57.6), (-41.7,-58.5,-40.5,-57.3), (-13.65,-58.5,-6.15,-57.6), (-10.2,-58.5,-6.15,-57.6), (-7.05,-58.5,-6.15,-52.5), (-23.1,-58.35,-22.05,-57.45), (15.9,-57.6,17.1,-42.6), (18.3,-57.6,19.5,-42.6), (31.8,-57.6,33,-42.6), (34.2,-57.6,35.4,-42.6), (-17.25,-55.5,-7.95,-54.3), (-5.25,-55.5,4.35,-54.3), (3.15,-55.5,4.35,-53.4), (-38.25,-55.35,-31.2,-54.45), (-32.1,-55.35,-31.2,-49.65), (-16.8,-55.2,-15.9,-53.4), (-17.25,-54.45,-15.75,-17.55), (2.85,-54.45,4.35,-17.55), (-46.8,-54.3,-45.6,-39.3), (-44.4,-54.3,-43.2,-39.3), (-26.55,-53.85,-25.05,-52.35), (-13.35,-53.4,-7.65,-52.5), (-13.35,-53.4,-12.45,-50.55), (-8.55,-53.4,-7.65,-50.55), (-8.55,-53.4,-6.15,-52.5), (-7.05,-53.4,-4.35,-52.5), (-5.25,-53.4,0.45,-52.5), (-5.25,-53.4,-4.35,-50.55), (-0.45,-53.4,0.45,-50.55), (-11.25,-51.6,-9.75,-36.6), (-3.15,-51.6,-1.65,-36.6), (-34.8,-50.7,-33.6,-47.1), (-32.4,-50.7,-31.2,-47.1), (-25.5,-50.7,-24.3,-47.1), (-23.1,-50.7,-21.9,-47.1), (-39,-49.8,-37.2,-48.9), (-39,-49.8,-38.1,-44.7), (-38.1,-49.8,-36.9,-48.6), (10.2,-49.8,11.4,-48.6), (26.4,-49.8,27.6,-48.6), (10.5,-49.65,13.2,-48.75), (12.3,-49.65,13.2,-45), (12.3,-49.65,16.8,-48.75), (26.7,-49.65,29.4,-48.75), (28.5,-49.65,32.7,-48.75), (28.5,-49.65,29.4,-45), (-37.8,-49.5,-33.9,-48.6), (-25.5,-48.15,-24.6,-44.4), (-49.5,-47.7,-48.3,-46.5), (-49.2,-47.55,-45.9,-46.65), (12,-46.05,13.5,-44.55), (28.2,-46.05,29.7,-44.55), (-39.15,-45.75,-37.65,-44.25), (12.15,-45.6,13.05,-30.6), (28.35,-45.6,29.25,-29.7), (-25.8,-45.3,-24.6,-44.1), (16.05,-43.65,16.95,-39.75), (18.45,-43.65,19.35,-39.75), (31.95,-43.65,32.85,-39.75), (34.35,-43.65,35.25,-39.75), (-44.1,-42.15,-38.25,-41.25), (-39.15,-42.15,-27.75,-41.25), (-39.15,-42.15,-38.25,-30.15), (-28.65,-42.15,-19.05,-41.25), (-19.95,-42.15,-19.05,-22.95), (-13.5,-41.7,-12.3,-34.2), (-8.7,-41.7,-7.5,-34.2), (-10.95,-41.55,-10.05,-37.65), (-10.95,-41.55,-10.05,-37.65), (-5.4,-41.4,-4.2,-34.2), (-0.6,-41.4,0.6,-34.2), (-2.85,-41.25,-1.95,-37.65), (-2.85,-41.25,-1.95,-37.65), (15.9,-40.8,17.1,-25.8), (18.3,-40.8,19.5,-25.8), (31.8,-40.8,33,-25.8), (34.2,-40.8,35.4,-25.8), (-11.1,-38.7,-9.9,-34.2), (-3,-38.7,-1.8,-34.2), (11.85,-31.65,13.35,-30.15), (-41.7,-31.2,-40.5,-16.2), (-39.3,-31.2,-38.1,-16.2), (-25.8,-30.9,-24.6,-15.9), (-23.4,-30.9,-22.2,-15.9), (28.05,-30.75,29.55,-29.25), (-10.95,-28.35,-10.05,-18.6), (-33.9,-26.25,-32.4,-24.75), (-33.6,-25.65,-32.7,-22.95), (30.75,-24.75,32.25,-23.25), (14.85,-24.45,16.35,-22.95), (31.05,-24.3,31.95,-4.8), (-28.2,-24,-27,-22.8), (-27.9,-24,-24.9,-23.1), (15.15,-24,16.05,-4.2), (-33.6,-23.85,-27.15,-22.95), (-23.1,-23.85,-19.05,-22.95), (-19.95,-23.85,-19.05,-14.25), (-2.85,-21.45,-1.95,-18.6), (3.6,-20.7,7.8,-17.7), (6.3,-20.7,9.3,-17.7), (-16.8,-19.5,-10.05,-18.6), (-10.95,-19.5,-1.95,-18.6), (-2.85,-19.5,3.9,-18.6), (-16.8,-18.6,-15.9,-16.8), (3,-18.6,3.9,-16.8), (-17.25,-17.7,-7.05,-16.5), (-4.95,-17.7,4.35,-16.5), (-41.55,-17.25,-40.65,-4.05), (-6.75,-15.45,-5.25,-13.95), (-19.95,-15.15,-5.55,-14.25), (-38.55,-14.55,-37.05,-13.05), (-26.85,-14.55,-25.35,-13.05), (-38.25,-14.1,-37.35,-4.2), (-26.55,-14.1,-25.65,-4.05), (30.9,-5.7,32.1,-4.5), (-38.4,-5.4,-37.2,-4.2), (15,-5.4,16.2,-4.2), (-41.7,-5.25,-40.5,-4.05), (-26.7,-5.25,-25.5,-4.05)])
R(pad_io, via1, [(0.75,-99.75,1.35,-99.15), (2.25,-99.75,2.85,-99.15), (0.75,-98.25,1.35,-97.65), (2.25,-98.25,2.85,-97.65), (-34.8,-92.4,-34.2,-91.8), (-25.2,-69.3,-24.6,-68.7), (11.7,-69,12.3,-68.4), (26.7,-69,27.3,-68.4), (-48.6,-66.6,-48,-66), (22.2,-58.8,22.8,-58.2), (-47.4,-58.5,-46.8,-57.9), (-36,-58.5,-35.4,-57.9), (38.1,-58.5,38.7,-57.9), (-31.8,-58.35,-31.2,-57.75), (-26.1,-58.35,-25.5,-57.75), (-22.8,-58.35,-22.2,-57.75), (-9.9,-58.35,-9.3,-57.75), (-41.4,-58.2,-40.8,-57.6), (-37.8,-49.5,-37.2,-48.9), (10.5,-49.5,11.1,-48.9), (26.7,-49.5,27.3,-48.9), (-49.2,-47.4,-48.6,-46.8), (-25.5,-45,-24.9,-44.4), (-27.9,-23.7,-27.3,-23.1), (6.75,-20.25,7.35,-19.65), (8.25,-20.25,8.85,-19.65), (6.75,-18.75,7.35,-18.15), (8.25,-18.75,8.85,-18.15), (31.2,-5.4,31.8,-4.8), (-38.1,-5.1,-37.5,-4.5), (15.3,-5.1,15.9,-4.5), (-41.4,-4.95,-40.8,-4.35), (-26.4,-4.95,-25.8,-4.35)])
R(pad_io, metal2, [(0.3,-100.2,3.3,-97.2), (1.35,-98.1,2.25,-83.25), (-35.1,-92.7,-33.9,-91.5), (-34.95,-92.55,-34.05,-60.9), (-51.75,-84.15,0.75,-83.25), (-51.75,-84.15,-50.85,-68.55), (-0.15,-84.15,2.25,-83.25), (1.35,-84.15,52.95,-83.25), (52.05,-84.15,52.95,-68.25), (-25.5,-69.6,-24.3,-68.4), (-51.75,-69.45,-50.85,-60.9), (-51.75,-69.45,-24.6,-68.55), (11.4,-69.3,12.6,-68.1), (26.4,-69.3,27.6,-68.1), (11.7,-69.15,52.95,-68.25), (26.7,-69.15,52.95,-68.25), (52.05,-69.15,52.95,-60.9), (-48.9,-66.9,-47.7,-65.7), (-48.75,-66.75,-47.85,-60.9), (-52.2,-61.8,-50.85,-60.9), (-51.75,-61.8,-47.85,-60.9), (-51.75,-61.8,-34.05,-60.9), (52.05,-61.8,53.4,-60.9), (21.9,-59.1,23.1,-57.9), (24.6,-59.1,25.8,-57.9), (22.2,-58.95,25.5,-58.05), (-47.7,-58.8,-46.5,-57.6), (-47.7,-58.8,-46.5,-57.6), (-36.3,-58.8,-35.1,-57.6), (-36.3,-58.8,-35.1,-57.6), (1.2,-58.8,2.4,-57.6), (37.8,-58.8,39,-57.6), (40.5,-58.8,41.7,-57.6), (-32.1,-58.65,-30.9,-57.45), (-32.1,-58.65,-30.9,-57.45), (-26.4,-58.65,-25.2,-57.45), (-26.4,-58.65,-25.2,-57.45), (-23.1,-58.65,-21.9,-57.45), (-23.1,-58.65,-21.9,-57.45), (-10.2,-58.65,-9,-57.45), (38.1,-58.65,41.7,-57.75), (-47.7,-58.5,-46.8,-57.6), (-41.7,-58.5,-40.5,-57.3), (-41.7,-58.5,-40.5,-57.3), (-36.3,-58.5,-35.25,-57.6), (-9.9,-58.5,2.25,-57.6), (-41.7,-58.35,-40.65,-57.45), (-32.1,-58.35,-30.9,-57.45), (-26.4,-58.35,-25.2,-57.45), (-23.1,-58.35,-21.9,-57.45), (-52.2,-54.9,-50.85,-54), (-51.75,-54.9,-50.85,-48.75), (-51.75,-54.9,-50.85,-22.95), (-51.75,-54.9,-50.85,-18.75), (52.05,-54.9,52.95,-48.75), (52.05,-54.9,53.4,-54), (-38.1,-49.8,-36.9,-48.6), (10.2,-49.8,11.4,-48.6), (26.4,-49.8,27.6,-48.6), (-51.75,-49.65,-37.2,-48.75), (-51.75,-49.65,-50.85,-46.65), (10.5,-49.65,52.95,-48.75), (26.7,-49.65,52.95,-48.75), (52.05,-49.65,52.95,-30.75), (-49.5,-47.7,-48.3,-46.5), (-51.75,-47.55,-50.85,-44.25), (-51.75,-47.55,-48.6,-46.65), (-25.8,-45.3,-24.6,-44.1), (-51.75,-45.15,-50.85,-30.75), (-51.75,-45.15,-24.9,-44.25), (-51.75,-31.65,0.75,-30.75), (-0.15,-31.65,52.95,-30.75), (-28.2,-24,-27,-22.8), (-51.75,-23.85,-27.15,-22.95), (6.3,-20.7,9.3,-17.7), (-51.75,-19.65,8.25,-18.75), (30.9,-5.7,32.1,-4.5), (24.6,-5.55,25.8,-4.35), (-38.4,-5.4,-37.2,-4.2), (15,-5.4,16.2,-4.2), (15,-5.4,16.2,-4.2), (24.75,-5.4,31.8,-4.5), (-41.7,-5.25,-40.5,-4.05), (-41.7,-5.25,-40.5,-4.05), (-38.1,-5.25,-29.1,-4.35), (-30.15,-5.25,-28.95,-4.05), (-26.7,-5.25,-25.5,-4.05), (-26.4,-5.1,-22.2,-4.2), (-23.25,-5.1,-22.05,-3.9), (15,-5.1,16.2,-4.2), (-41.55,-4.95,-40.65,-4.05)])
R(pad_io, via2, [(24.9,-58.8,25.5,-58.2), (-47.4,-58.5,-46.8,-57.9), (-36,-58.5,-35.4,-57.9), (1.5,-58.5,2.1,-57.9), (40.8,-58.5,41.4,-57.9), (-31.8,-58.35,-31.2,-57.75), (-26.1,-58.35,-25.5,-57.75), (-22.8,-58.35,-22.2,-57.75), (-41.4,-58.2,-40.8,-57.6), (24.9,-5.25,25.5,-4.65), (15.3,-5.1,15.9,-4.5), (-41.4,-4.95,-40.8,-4.35), (-29.85,-4.95,-29.25,-4.35), (-22.95,-4.8,-22.35,-4.2)])
R(pad_io, metal3, [(-47.7,-108.6,-46.5,-57.6), (24.6,-108.6,25.8,-57.9), (40.5,-108.6,41.7,-57.6), (-36.15,-108.45,-35.25,-79.95), (-36.3,-81,-35.1,-57.6), (24.6,-59.1,25.8,-57.9), (24.6,-59.1,25.8,-4.35), (-47.7,-58.8,-46.5,-57.6), (-36.3,-58.8,-35.1,-57.6), (1.2,-58.8,2.4,-57.6), (1.2,-58.8,2.4,-4.2), (40.5,-58.8,41.7,-57.6), (-32.25,-58.65,-28.95,-57.45), (-32.1,-58.65,-30.9,-57.45), (-30.15,-58.65,-25.2,-57.45), (-30.15,-58.65,-28.95,-4.05), (-26.4,-58.65,-25.2,-57.45), (-23.1,-58.65,-21.9,-57.45), (-23.1,-58.65,-21.9,-3.75), (-41.7,-58.5,-40.5,-57.3), (-41.7,-58.5,-40.5,-4.05), (-1.5,-6,3,-3.6), (0.6,-6,16.65,-3.6), (24.6,-5.55,25.8,-4.35), (15,-5.4,16.2,-4.2), (-41.7,-5.25,-40.5,-4.05), (-30.15,-5.25,-28.95,-4.05), (-23.25,-5.1,-22.05,-3.9), (-4.5,-4.8,3.9,60.9), (-29.55,-4.65,-29.25,-4.35), (-22.65,-4.5,-22.35,-4.2), (-4.5,56.7,4.2,65.1)])
pad_io.add(gdstk.Reference(pad_raw, (0,0)))

pad_in = lib.new_cell('pad_in')
R(pad_in, metal2, [(-47.7,-109.2,-46.5,-108), (-47.7,-109.05,-46.5,-107.7), (-36.3,-108.9,-35.1,-107.7), (40.5,-108.9,41.7,-107.7), (-51.9,-108.75,-51,-60.9), (-51.9,-108.75,-46.65,-107.85), (-47.55,-108.75,-35.4,-107.85), (-52.2,-61.8,-51,-60.9), (52.5,-61.8,53.4,-60.9), (-52.2,-54.9,-51.3,-54), (52.5,-54.9,53.4,-54)])
R(pad_in, via2, [(-47.4,-108.9,-46.8,-108.3), (-36,-108.6,-35.4,-108), (40.8,-108.6,41.4,-108)])
R(pad_in, metal3, [(-47.7,-109.2,-46.5,-108), (-47.7,-109.2,-46.5,-107.4), (-36.3,-108.9,-35.1,-107.7), (40.5,-108.9,41.7,-107.7), (40.5,-108.75,41.7,-107.4), (-35.85,-108.3,-35.55,-107.85)])
pad_in.add(gdstk.Reference(pad_io, (0,0)))

lib.write_gds('pad_in.gds')
